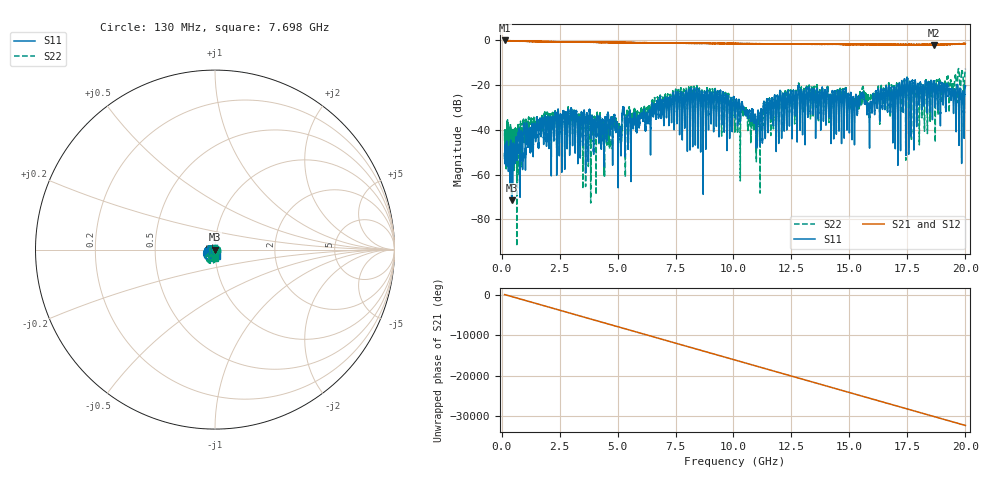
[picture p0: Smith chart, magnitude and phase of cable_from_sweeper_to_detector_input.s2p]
!Created with skrf (http://scikit-rf.org).
# GHz S RI R 50.0
!freq ReS11 ImS11 ReS21 ImS21 ReS12 ImS12 ReS22 ImS22
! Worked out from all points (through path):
!   20013 points, 130 MHz to 20 GHz, reference 50 ohm
!   highest |S21| = -0.10 dB at 158 MHz (marker M1); lowest = -2.1 dB at 18.65 GHz (marker M2)
!   group delay of S21, straight-line fit = 4.54 ns
!   lowest |S11| = -71.5 dB at 454 MHz (marker M3), VSWR 1.00, Z = 50 + j0.0235 ohm
!   |S11| at or under -10 dB: start of sweep to end of sweep
!   |S22| runs from -92.0 to -12.7 dB; largest |S21 - S12| = 0.09
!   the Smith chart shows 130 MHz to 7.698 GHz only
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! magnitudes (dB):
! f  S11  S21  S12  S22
! 130 MHz  -51.7  -0.1  -0.1  -43.8
! 158 MHz  -47.3  -0.1  -0.2  -47.5
! 454 MHz  -71.5  -0.3  -0.3  -43.8
! 1.705 GHz  -43.1  -0.6  -0.6  -35.8
! 3.442 GHz  -32.0  -0.8  -0.7  -32.3
! 4.356 GHz  -36.1  -1.0  -0.9  -36.6
! 4.656 GHz  -41.2  -1.0  -0.9  -45.1
! 5.087 GHz  -41.4  -1.0  -1.0  -38.9
! 5.29 GHz  -32.7  -1.1  -1.0  -32.4
! 6.754 GHz  -31.8  -1.2  -1.2  -29.3
! 8.358 GHz  -40.2  -1.4  -1.3  -30.3
! 10.06 GHz  -33.4  -1.5  -1.4  -37.6
! 10.94 GHz  -33.8  -1.6  -1.5  -37.2
! 11.96 GHz  -35.1  -1.7  -1.6  -33.6
! 13.38 GHz  -22.0  -1.9  -1.7  -21.0
! 15.17 GHz  -25.3  -1.8  -1.8  -26.0
! 15.55 GHz  -24.7  -1.8  -1.8  -22.7
! 15.85 GHz  -33.3  -1.9  -1.9  -30.2
! 16.69 GHz  -20.5  -1.9  -2.0  -19.4
! 18.65 GHz  -18.8  -2.1  -1.9  -19.3
! 19.89 GHz  -23.1  -1.6  -1.6  -15.5
! 20 GHz  -20.4  -1.5  -1.6  -12.8
